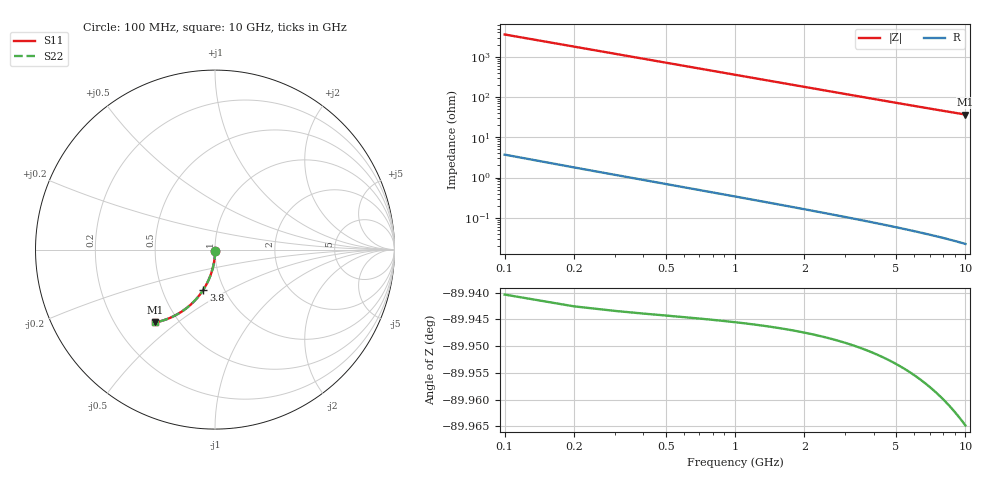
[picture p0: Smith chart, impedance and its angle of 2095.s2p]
# Hz S RI R 50.00
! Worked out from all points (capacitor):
!   100 points, 100 MHz to 10 GHz, reference 50 ohm
!   read as one part in shunt: C = 446 fF near 100 MHz
!   lowest |Z| = 36.7 ohm at 10 GHz (marker M1)
!   S11 on the Smith chart (normalised r, x): 100 MHz: 1.00, -0.01; 3.8 GHz: 0.80, -0.38; 10 GHz: 0.37, -0.42
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1e8  0.000533 -0.00634  0.9994 -0.00766  0.9994 -0.00766  0.000533 -0.00634
2e8  0.000384 -0.0127  0.9992 -0.0153  0.9992 -0.0153  0.000384 -0.0127
3e8  0.000138 -0.019  0.9989 -0.023  0.9989 -0.023  0.000138 -0.019
4e8  -0.000206 -0.0253  0.9986 -0.0306  0.9986 -0.0306  -0.000206 -0.0253
5e8  -0.000647 -0.0317  0.9981 -0.0382  0.9981 -0.0382  -0.000647 -0.0317
6e8  -0.00118 -0.038  0.9976 -0.0459  0.9976 -0.0459  -0.00118 -0.038
7e8  -0.00182 -0.0443  0.9969 -0.0535  0.9969 -0.0535  -0.00182 -0.0443
8e8  -0.00255 -0.0506  0.9962 -0.0611  0.9962 -0.0611  -0.00255 -0.0506
9e8  -0.00337 -0.0568  0.9953 -0.0687  0.9953 -0.0687  -0.00337 -0.0568
1.1e9  -0.00531 -0.0693  0.9934 -0.0838  0.9934 -0.0838  -0.00531 -0.0693
1.4e9  -0.00892 -0.0879  0.9897 -0.1063  0.9897 -0.1063  -0.00892 -0.0879
1.8e9  -0.015 -0.1122  0.9835 -0.1359  0.9835 -0.1359  -0.015 -0.1122
2.1e9  -0.0205 -0.1302  0.9779 -0.1578  0.9779 -0.1578  -0.0205 -0.1302
2.5e9  -0.0291 -0.1535  0.9692 -0.1864  0.9692 -0.1864  -0.0291 -0.1535
2.9e9  -0.0389 -0.1761  0.9591 -0.2142  0.9591 -0.2142  -0.0389 -0.1761
3.4e9  -0.0529 -0.2032  0.9448 -0.248  0.9448 -0.248  -0.0529 -0.2032
3.8e9  -0.0654 -0.2239  0.9321 -0.2739  0.9321 -0.2739  -0.0654 -0.2239
4.4e9  -0.086 -0.253  0.911 -0.311  0.911 -0.311  -0.086 -0.253
5.1e9  -0.1125 -0.284  0.8839 -0.3513  0.8839 -0.3513  -0.1125 -0.284
6.7e9  -0.1804 -0.3419  0.8143 -0.4304  0.8143 -0.4304  -0.1804 -0.3419
8.4e9  -0.2583 -0.3835  0.7341 -0.4949  0.7341 -0.4949  -0.2583 -0.3835
1e10  -0.3319 -0.4056  0.6577 -0.5387  0.6577 -0.5387  -0.3319 -0.4056
